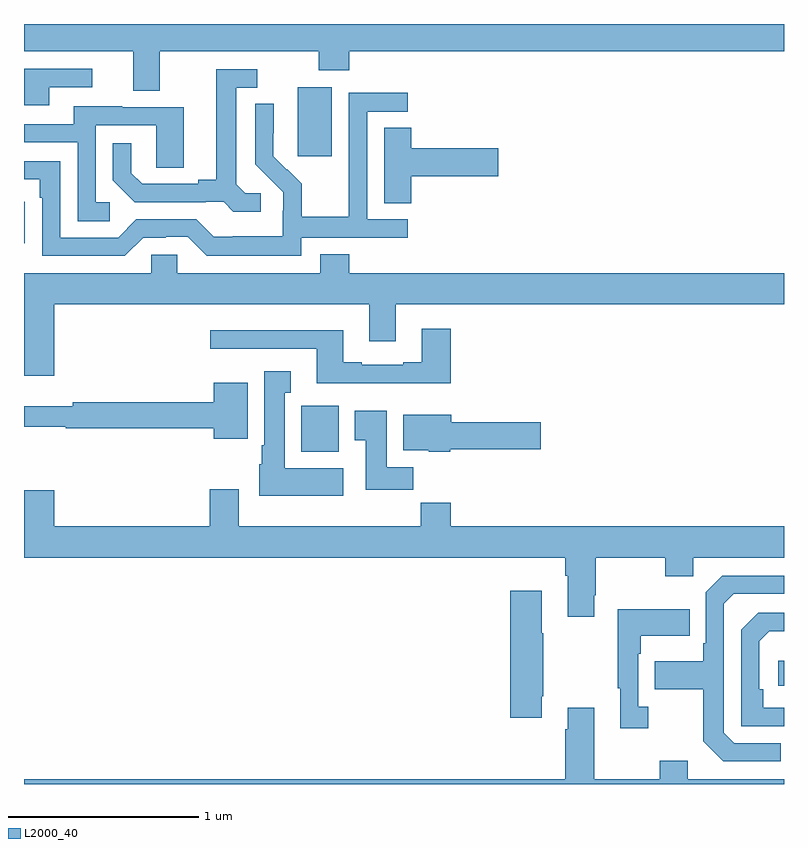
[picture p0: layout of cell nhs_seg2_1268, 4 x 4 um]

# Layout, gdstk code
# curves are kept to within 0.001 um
import gdstk
lib = gdstk.Library(unit=1e-6, precision=1e-09)
def R(c, l, rs):  # rectangles x0, y0, x1, y1
    for r in rs: c.add(gdstk.rectangle(r[:2], r[2:], *l))
def P(c, l, *ps):  # polygons
    for p in ps: c.add(gdstk.Polygon(p, *l))
L2000_40 = (2000, 40)

nhs_seg2_1268 = lib.new_cell('nhs_seg2_1268')
R(nhs_seg2_1268, L2000_40, [(180.969,624.318,181,624.448), (178.46,625.55,178.657,625.792), (177,626.646,177.005,626.864), (178.442,627.105,178.621,627.466)])
P(nhs_seg2_1268, L2000_40, [(177.715,627.656),(178.552,627.656),(178.552,627.557),(178.712,627.557),(178.712,627.656),(181,627.656),(181,627.8),(177,627.8),(177,627.656),(177.575,627.656),(177.575,627.448),(177.715,627.448)],
  [(177.133,627.468),(177.358,627.468),(177.358,627.564),(177,627.564),(177,627.372),(177.133,627.372)],
  [(178.246,626.91),(178.164,626.91),(178.117,626.957),(178.117,627.465),(178.228,627.465),(178.228,627.561),(178.013,627.561),(178.013,626.981),(177.917,626.981),(177.917,626.958),(177.622,626.958),(177.565,627.015),(177.565,627.172),(177.468,627.172),(177.468,626.978),(177.584,626.862),(177.956,626.862),(177.956,626.865),(178.05,626.865),(178.102,626.813),(178.246,626.813)],
  [(178.458,626.676),(179.02,626.676),(179.02,626.772),(178.806,626.772),(178.806,627.339),(179.02,627.339),(179.02,627.438),(178.71,627.438),(178.71,627.008),(178.708,627.008),(178.708,626.785),(178.463,626.785),(178.463,626.959),(178.386,627.036),(178.383,627.033),(178.313,627.104),(178.314,627.38),(178.218,627.38),(178.218,627.062),(178.364,626.914),(178.364,626.817),(178.362,626.817),(178.362,626.683),(178.099,626.683),(178.099,626.679),(177.999,626.679),(177.906,626.772),(177.591,626.772),(177.495,626.676),(177.192,626.676),(177.192,627.078),(177,627.078),(177,626.982),(177.083,626.982),(177.083,626.885),(177.096,626.885),(177.096,626.58),(177.531,626.58),(177.627,626.676),(177.746,626.676),(177.746,626.679),(177.861,626.679),(177.961,626.579),(178.458,626.579)],
  [(177.451,626.862),(177.378,626.862),(177.378,627.267),(177.696,627.267),(177.696,627.043),(177.841,627.043),(177.841,627.363),(177.517,627.363),(177.517,627.367),(177.263,627.367),(177.263,627.273),(177,627.273),(177,627.177),(177.282,627.177),(177.282,626.761),(177.451,626.761)],
  [(179.039,626.999),(179.497,626.999),(179.497,627.146),(179.039,627.146),(179.039,627.254),(178.895,627.254),(178.895,626.857),(179.039,626.857)],
  [(177.16,626.324),(178.817,626.324),(178.817,626.13),(178.957,626.13),(178.957,626.324),(181,626.324),(181,626.488),(178.712,626.488),(178.712,626.587),(178.559,626.587),(178.559,626.488),(177.807,626.488),(177.807,626.586),(177.669,626.586),(177.669,626.488),(177,626.488),(177,625.95),(177.16,625.95)],
  [(179.246,626.197),(179.093,626.197),(179.093,626.02),(178.997,626.02),(178.997,626.007),(178.777,626.007),(178.777,626.02),(178.681,626.02),(178.681,626.188),(177.981,626.188),(177.981,626.091),(178.541,626.091),(178.541,625.91),(179.246,625.91)],
  [(178.681,625.462),(178.372,625.462),(178.372,625.859),(178.405,625.859),(178.405,625.972),(178.265,625.972),(178.265,625.582),(178.25,625.582),(178.25,625.482),(178.238,625.482),(178.238,625.316),(178.681,625.316)],
  [(178.177,625.912),(177.998,625.912),(177.998,625.808),(177.256,625.808),(177.256,625.789),(177,625.789),(177,625.68),(177.219,625.68),(177.219,625.672),(177.998,625.672),(177.998,625.616),(178.177,625.616)],
  [(179.048,625.468),(178.909,625.468),(178.909,625.765),(178.742,625.765),(178.742,625.609),(178.799,625.609),(178.799,625.35),(179.048,625.35)],
  [(179.244,625.561),(179.719,625.561),(179.719,625.703),(179.248,625.703),(179.248,625.744),(178.997,625.744),(178.997,625.556),(179.13,625.556),(179.13,625.55),(179.244,625.55)],
  [(179.246,625.28),(179.089,625.28),(179.089,625.156),(178.129,625.156),(178.129,625.351),(177.977,625.351),(177.977,625.156),(177.16,625.156),(177.16,625.345),(177,625.345),(177,624.992),(179.849,624.992),(179.849,624.896),(179.861,624.896),(179.861,624.681),(180.001,624.681),(180.001,624.793),(180.009,624.793),(180.009,624.992),(180.376,624.992),(180.376,624.893),(180.522,624.893),(180.522,624.992),(181,624.992),(181,625.156),(179.246,625.156)],
  [(180.982,624.015),(180.738,624.015),(180.684,624.069),(180.684,624.75),(180.735,624.801),(181,624.801),(181,624.897),(180.675,624.897),(180.588,624.81),(180.588,624.541),(180.576,624.541),(180.576,624.445),(180.319,624.445),(180.319,624.298),(180.576,624.298),(180.576,624.025),(180.681,623.919),(180.982,623.919)],
  [(179.725,624.262),(179.733,624.262),(179.733,624.593),(179.725,624.593),(179.725,624.817),(179.558,624.817),(179.558,624.15),(179.725,624.15)],
  [(180.286,624.206),(180.234,624.206),(180.234,624.485),(180.247,624.485),(180.247,624.581),(180.503,624.581),(180.503,624.721),(180.126,624.721),(180.126,624.305),(180.137,624.305),(180.137,624.093),(180.286,624.093)],
  [(181,624.201),(180.89,624.201),(180.89,624.298),(180.87,624.298),(180.87,624.552),(180.923,624.605),(181,624.605),(181,624.702),(180.864,624.702),(180.774,624.612),(180.774,624.105),(181,624.105)],
  [(181,623.824),(180.493,623.824),(180.493,623.923),(180.346,623.923),(180.346,623.824),(180.001,623.824),(180.001,624.202),(179.861,624.202),(179.861,624.089),(179.849,624.089),(179.849,623.824),(177,623.824),(177,623.8),(181,623.8)])

lib.write_gds('nhs_seg2_1268.gds')
